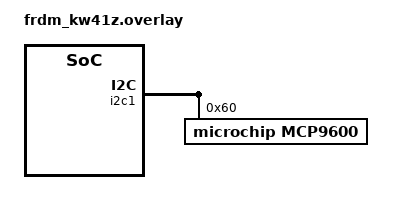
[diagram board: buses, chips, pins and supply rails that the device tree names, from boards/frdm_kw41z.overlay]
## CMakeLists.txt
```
# SPDX-License-Identifier: Apache-2.0

cmake_minimum_required(VERSION 3.13.1)
find_package(Zephyr REQUIRED HINTS $ENV{ZEPHYR_BASE})
project(lm73c)

FILE(GLOB app_sources src/*.c)
target_sources(app PRIVATE ${app_sources})
```

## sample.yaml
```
sample:
  name: MCP9600 Thermocouple Temperature Sensor
tests:
  sample.sensor.mcp9600:
    harness: sensor
    tags: sensors
    depends_on: i2c
    filter: dt_compat_enabled("microchip,mcp9600")
```

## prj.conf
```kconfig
CONFIG_STDOUT_CONSOLE=y
CONFIG_I2C=y
CONFIG_GPIO=y
CONFIG_SENSOR=y
CONFIG_MCP9600=y
CONFIG_CBPRINTF_FP_SUPPORT=y
```

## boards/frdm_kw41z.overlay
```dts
/*
 * Copyright (c) 2020, SER Consulting LLC / Steven Riedl
 *
 * SPDX-License-Identifier: Apache-2.0
 */

&i2c1 {
	mcp9600@60 {
		compatible = "microchip,mcp9600";
		reg = <0x60>;
		label = "MCP9600";
	};
};
```

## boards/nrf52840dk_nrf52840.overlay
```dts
/*
 * Copyright (c) 2020, SER Consulting LLC  / Steven Riedl
 *
 * SPDX-License-Identifier: Apache-2.0
 */

&i2c0 {
	mcp9600@60 {
		compatible = "microchip,mcp9600";
		reg = <0x60>;
		label = "MCP9600";
	};

};
```

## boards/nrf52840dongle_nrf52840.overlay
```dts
/*
 * Copyright (c) 2020, SER Consulting LLC  / Steven Riedl
 *
 * SPDX-License-Identifier: Apache-2.0
 */

&i2c0 {
	mcp9600@60 {
		compatible = "microchip,mcp9600";
		reg = <0x60>;
		label = "MCP9600";
	};
};
```

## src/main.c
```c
/*
 * Copyright (c) 2020 SER Consulting LLC / Steven Riedl
 *
 * SPDX-License-Identifier: Apache-2.0
 */

#include <zephyr.h>
#include <device.h>
#include <init.h>
#include <stdio.h>
#include <devicetree.h>
#include <drivers/sensor.h>
#include <drivers/gpio.h>
#include <sys/util.h>
#include <sys/printk.h>
#include <inttypes.h>

#define MCP9600 DT_INST(0, microchip_mcp9600)

#if DT_NODE_HAS_STATUS(MCP9600, okay)
#define MCP9600_LABEL DT_LABEL(MCP9600)
#else
#error Your devicetree has no enabled nodes with "microchip_mcp9600"
#define MCP9600_LABEL "<none>"
#endif

void main(void)
{
	bool fmcp = false;
	int ret;

	const struct device *mcp = device_get_binding(MCP9600_LABEL);

	if (mcp == NULL) {
		printk("No device \"%s\" found; did initialization fail?\n",
				MCP9600_LABEL);
		return;
	}
	printk("Found device \"%s\"\n", MCP9600_LABEL);
	fmcp = true;

	while (1) {
		if (fmcp) {
			ret = sensor_sample_fetch(mcp);
			if (ret < 0) {
				printk("\"%s\" fetch error %d\n",
					   MCP9600_LABEL, ret);
			} else {
				struct sensor_value ttemp;

				sensor_channel_get(mcp,
					SENSOR_CHAN_AMBIENT_TEMP, &ttemp);
#ifdef CONFIG_CBPRINTF_FP_SUPPORT
				printf("Temperature: %.4f C\n",
					sensor_value_to_double(&ttemp));
#else
				printk("Temperature: %d C\n", ttemp.val1);
#endif
			}
		}
		k_sleep(K_MSEC(10000));
	}
}
```
